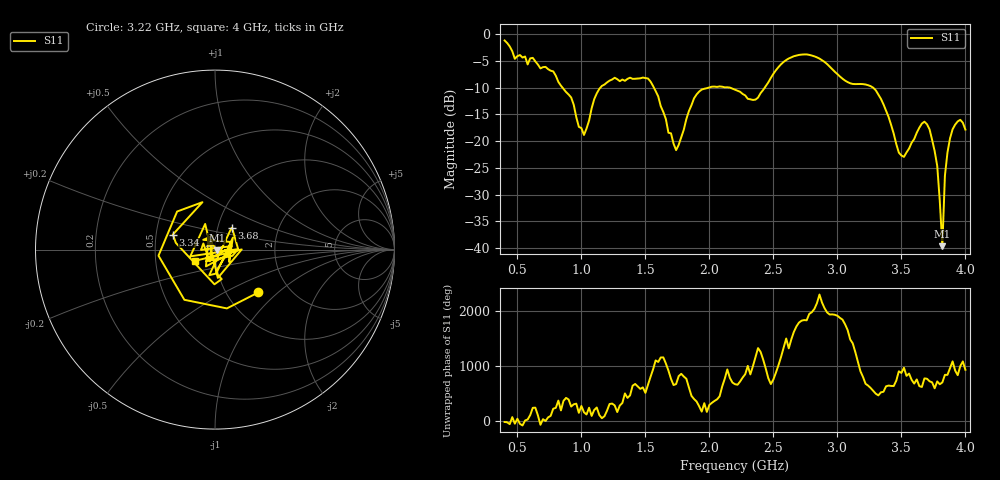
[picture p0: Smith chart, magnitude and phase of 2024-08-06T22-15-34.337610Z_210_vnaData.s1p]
!Created with skrf (http://scikit-rf.org).
# Hz S RI R 50.0
!freq ReS11 ImS11
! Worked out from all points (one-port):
!   181 points, 400 MHz to 4 GHz, reference 50 ohm
!   lowest |S11| = -39.7 dB at 3.82 GHz (marker M1), VSWR 1.02, Z = 51 - j0.354 ohm
!   |S11| at or under -10 dB: 853.5 MHz to 1.147 GHz (293.7 MHz wide, 29.4 % of centre); 1.567 GHz to 1.99 GHz (422.9 MHz wide, 23.8 % of centre); 3.28 GHz to end of sweep (the widest 3 of 4)
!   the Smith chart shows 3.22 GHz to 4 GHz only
!   S11 on the Smith chart (normalised r, x): 3.22 GHz: 1.40, -0.75; 3.34 GHz: 0.61, +0.11; 3.68 GHz: 1.16, +0.29; 4 GHz: 0.79, -0.10
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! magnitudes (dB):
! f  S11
! 400 MHz  -1.1
! 480 MHz  -4.6
! 620 MHz  -4.4
! 860 MHz  -10.2
! 1.02 GHz  -18.8
! 1.14 GHz  -10.2
! 1.3 GHz  -8.8
! 1.52 GHz  -8.3
! 1.74 GHz  -21.7
! 1.76 GHz  -20.7
! 1.92 GHz  -10.7
! 2.2 GHz  -10.3
! 2.36 GHz  -12.2
! 2.66 GHz  -4.1
! 2.84 GHz  -4.3
! 3.1 GHz  -9.2
! 3.22 GHz  -9.4
! 3.34 GHz  -12.1
! 3.48 GHz  -22.1
! 3.56 GHz  -21.4
! 3.68 GHz  -16.4
! 3.72 GHz  -17.8
! 3.78 GHz  -24.7
! 3.82 GHz  -39.7
! 3.84 GHz  -26.5
! 3.88 GHz  -19.5
! 3.96 GHz  -16.0
! 4 GHz  -17.8
